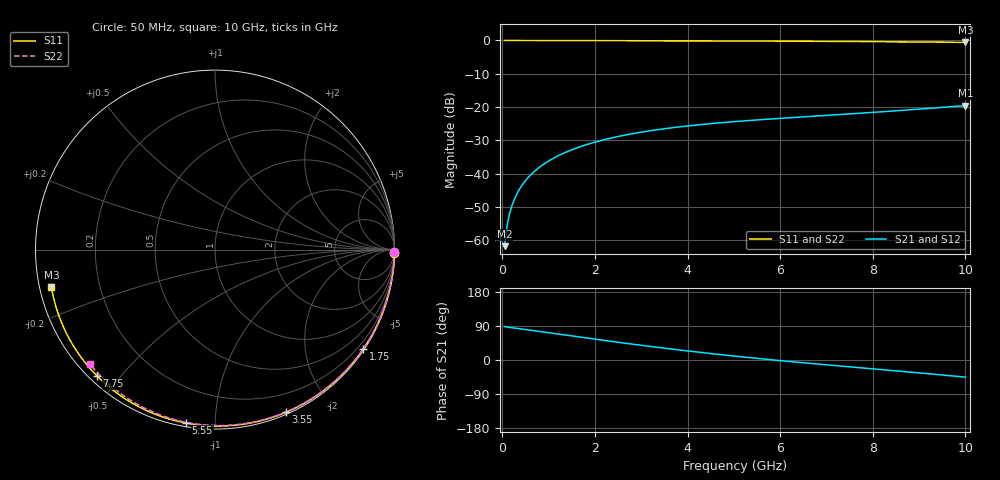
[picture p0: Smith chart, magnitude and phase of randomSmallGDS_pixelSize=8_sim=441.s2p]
! freq	dB(S11)	phase(S11)	dB(S12)	phase(S12)
!  dB(S21)	phase(S21)	dB(S22)	phase(S22)
!S-par simulation data
#  GHz  S  DB  R 50
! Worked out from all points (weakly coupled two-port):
!   200 points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, 50 MHz to 10 GHz, reference 50 ohm
!   highest |S21| = -19.56 dB at 10 GHz (marker M1); lowest = -61.8 dB at 50 MHz (marker M2)
!   lowest |S11| = -0.6 dB at 10 GHz (marker M3), VSWR 29.83, Z = 1.7 - j5.65 ohm
!   |S11| at or under -10 dB: nowhere
!   |S22| runs from -0.5 to 0.0 dB; largest |S21 - S12| = 0
!   S11 on the Smith chart (normalised r, x): 50 MHz: open; 1.75 GHz: 0.03, -3.29; 3.55 GHz: 0.02, -1.53; 5.55 GHz: 0.02, -0.85; 7.75 GHz: 0.02, -0.43; 10 GHz: 0.03, -0.11
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0.05  -0.00 -1.0  -61.79 88.3  -61.79 88.3  -0.00 -0.8
0.1  -0.00 -2.0  -55.85 87.1  -55.85 87.1  -0.00 -1.6
0.15  -0.00 -3.0  -52.40 86.1  -52.40 86.1  -0.00 -2.4
0.2  -0.00 -3.9  -49.96 85.3  -49.96 85.3  -0.00 -3.2
0.25  -0.00 -4.9  -48.06 84.5  -48.06 84.5  -0.00 -4.0
0.35  -0.01 -6.9  -45.18 82.9  -45.18 82.9  -0.00 -5.7
0.5  -0.01 -9.8  -42.12 80.5  -42.12 80.5  -0.01 -8.1
0.7  -0.02 -13.7  -39.24 77.1  -39.24 77.1  -0.01 -11.3
1  -0.02 -19.5  -36.21 71.9  -36.21 71.9  -0.02 -16.1
1.35  -0.03 -26.2  -33.70 65.9  -33.70 65.9  -0.03 -21.6
1.75  -0.05 -33.8  -31.60 59.1  -31.60 59.1  -0.04 -27.9
2.6  -0.07 -49.5  -28.56 45.1  -28.56 45.1  -0.06 -40.9
3.4  -0.09 -63.8  -26.70 32.7  -26.70 32.7  -0.08 -52.9
3.55  -0.10 -66.4  -26.42 30.5  -26.42 30.5  -0.08 -55.1
4.3  -0.12 -79.2  -25.24 19.8  -25.24 19.8  -0.10 -65.8
5.05  -0.15 -91.5  -24.33 9.8  -24.33 9.8  -0.13 -76.2
5.55  -0.18 -99.5  -23.82 3.6  -23.82 3.6  -0.15 -82.9
6.7  -0.24 -117.3  -22.78 -9.5  -22.78 -9.5  -0.21 -97.8
7.75  -0.32 -133.0  -21.85 -20.7  -21.85 -20.7  -0.27 -110.8
8.35  -0.38 -142.0  -21.28 -27.0  -21.28 -27.0  -0.32 -118.0
9.2  -0.48 -154.7  -20.42 -36.1  -20.42 -36.1  -0.41 -128.1
10  -0.58 -167.1  -19.56 -45.2  -19.56 -45.2  -0.50 -137.5
